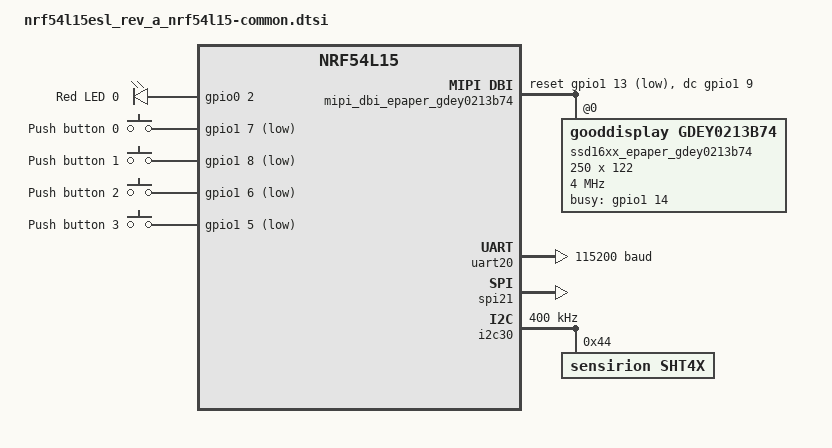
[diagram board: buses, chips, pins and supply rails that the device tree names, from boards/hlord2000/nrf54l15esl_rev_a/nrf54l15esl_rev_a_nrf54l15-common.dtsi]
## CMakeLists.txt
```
# SPDX-License-Identifier: Apache-2.0

cmake_minimum_required(VERSION 3.20.0)

find_package(Zephyr REQUIRED HINTS $ENV{ZEPHYR_BASE})
project(esl_peripheral_sync)

target_sources(app PRIVATE 
	src/peripheral_sync.c
)

target_sources_ifdef(CONFIG_PAWR_EPD app PRIVATE src/display.c)
target_sources_ifdef(CONFIG_SENSOR app PRIVATE src/temp_humidity_sensor.c)
```

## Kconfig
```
menu "PAwR Mosaic Configuration"

config PAWR_EPD
	bool "Enabled EPD for PAwR demo"
	select DISPLAY
	imply LVGL
	imply LV_MEM_CUSTOM
	imply LV_USE_LOG
	imply LV_USE_LABEL
	imply LV_USE_IMG
	imply LV_FONT_MONTSERRAT_14

endmenu

source "Kconfig.zephyr"
```

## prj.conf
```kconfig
CONFIG_LOG=n
CONFIG_CONSOLE=n
CONFIG_SHELL=n
CONFIG_SERIAL=n

CONFIG_PM_DEVICE=y
CONFIG_PM_DEVICE_RUNTIME=y

CONFIG_MAIN_STACK_SIZE=4096

CONFIG_INPUT=y
CONFIG_INPUT_SHELL=y
CONFIG_INPUT_LOG_LEVEL_DBG=y

CONFIG_BT=y
CONFIG_BT_OBSERVER=y
CONFIG_BT_BROADCASTER=y
CONFIG_BT_EXT_ADV=y
CONFIG_BT_PER_ADV_SYNC=y
CONFIG_BT_DEVICE_NAME="PAwR sync sample"

CONFIG_BT_MAX_CONN=2
CONFIG_BT_PERIPHERAL=y

CONFIG_BT_PER_ADV_SYNC_TRANSFER_SENDER=y
CONFIG_BT_PER_ADV_SYNC_TRANSFER_RECEIVER=y

CONFIG_BT_PER_ADV_SYNC_RSP=y
CONFIG_BT_PER_ADV_SYNC_BUF_SIZE=247
```

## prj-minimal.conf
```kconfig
CONFIG_LOG=n
CONFIG_CONSOLE=n
CONFIG_SHELL=n
CONFIG_SERIAL=n
CONFIG_INPUT=n
CONFIG_BT=n
```

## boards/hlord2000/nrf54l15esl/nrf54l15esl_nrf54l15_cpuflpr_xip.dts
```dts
/*
 * Copyright (c) 2024 Nordic Semiconductor ASA
 *
 * SPDX-License-Identifier: Apache-2.0
 */

#include "nrf54l15esl_nrf54l15_cpuflpr.dts"

&cpuflpr_sram {
	reg = <0x2002f000 DT_SIZE_K(68)>;
	ranges = <0x0 0x2002f000 0x11000>;
};
```

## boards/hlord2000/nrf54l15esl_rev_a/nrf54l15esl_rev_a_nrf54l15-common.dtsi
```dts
/*
 * Copyright (c) 2024 Nordic Semiconductor ASA
 *
 * SPDX-License-Identifier: Apache-2.0
 */

#include "nrf54l15esl_rev_a_nrf54l15-pinctrl.dtsi"

/ {
	chosen {
		zephyr,display = &ssd16xx_epaper_gdey0213b74;
	};

	leds {
		compatible = "gpio-leds";
		led0: led_0 {
			gpios = <&gpio0 2 GPIO_ACTIVE_HIGH>;
			label = "Red LED 0";
		};
	};

	buttons {
		compatible = "gpio-keys";
		button0: button_0 {
			gpios = <&gpio1 7 (GPIO_PULL_UP | GPIO_ACTIVE_LOW)>;
			label = "Push button 0";
			zephyr,code = <INPUT_KEY_0>;
		};
		button1: button_1 {
			gpios = <&gpio1 8 (GPIO_PULL_UP | GPIO_ACTIVE_LOW)>;
			label = "Push button 1";
			zephyr,code = <INPUT_KEY_1>;
		};
		button2: button_2 {
			gpios = <&gpio1 6 (GPIO_PULL_UP | GPIO_ACTIVE_LOW)>;
			label = "Push button 2";
			zephyr,code = <INPUT_KEY_2>;
		};
		button3: button_3 {
			gpios = <&gpio1 5 (GPIO_PULL_UP | GPIO_ACTIVE_LOW)>;
			label = "Push button 3";
			zephyr,code = <INPUT_KEY_3>;
		};
	};

	aliases {
		led0 = &led0;
		sw0 = &button0;
		sw1 = &button1;
		sw2 = &button2;
		sw3 = &button3;
		watchdog0 = &wdt31;
	};

	mipi_dbi_epaper_gdey0213b74 {
		compatible = "zephyr,mipi-dbi-spi";
		spi-dev = <&spi21>;
		dc-gpios = <&gpio1 9 GPIO_ACTIVE_HIGH>;
		reset-gpios = <&gpio1 13 GPIO_ACTIVE_LOW>;
		#address-cells = <1>;
		#size-cells = <0>;

		ssd16xx_epaper_gdey0213b74: ssd16xxfb@0 {
			compatible = "gooddisplay,gdey0213b74", "solomon,ssd1680";
			mipi-max-frequency = <4000000>;
			reg = <0>;
			width = <250>;
			height = <122>;
			busy-gpios = <&gpio1 14 GPIO_ACTIVE_HIGH>;

			//tssv = <0x80>;

			full {
				border-waveform = <0x05>;
			};

			partial {
				border-waveform = <0x3c>;
			};
		};
	};
};

&uart20 {
	status = "okay";
	current-speed = <115200>;
	pinctrl-0 = <&uart20_default>;
	pinctrl-1 = <&uart20_sleep>;
	pinctrl-names = "default", "sleep";
};

&spi21 {
	compatible = "nordic,nrf-spim";
	status = "okay";
	pinctrl-0 = <&spi21_default>;
	pinctrl-1 = <&spi21_sleep>;
	pinctrl-names = "default", "sleep";
	cs-gpios = <&gpio1 12 GPIO_ACTIVE_LOW>;
};

&i2c30 {
	compatible = "nordic,nrf-twim";
	status = "okay";
	pinctrl-0 = <&i2c30_default>;
	pinctrl-1 = <&i2c30_sleep>;
	pinctrl-names = "default", "sleep";
	clock-frequency = <I2C_BITRATE_FAST>;
	sht4x@44 {
		status = "okay";
		compatible = "sensirion,sht4x";
		reg = <0x44>;
		repeatability = <2>;
	};
};
```

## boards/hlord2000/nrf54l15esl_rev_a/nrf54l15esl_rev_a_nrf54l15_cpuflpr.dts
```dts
/*
 * Copyright (c) 2024 Nordic Semiconductor ASA
 *
 * SPDX-License-Identifier: Apache-2.0
 */

/dts-v1/;
#include <nordic/nrf54l15_cpuflpr.dtsi>
#include "nrf54l15esl_rev_a_nrf54l15-common.dtsi"

/ {
	model = "Nordic nRF54L15 PDK nRF54L15 FLPR MCU";
	compatible = "nordic,nrf54l15esl_rev_a_nrf54l15-cpuflpr";

	chosen {
		zephyr,console = &uart30;
		zephyr,shell-uart = &uart30;
		zephyr,code-partition = &cpuflpr_code_partition;
		zephyr,flash = &cpuflpr_rram;
		zephyr,sram = &cpuflpr_sram;
	};
};

&cpuflpr_sram {
	status = "okay";
	/* size must be increased due to booting from SRAM */
	reg = <0x20028000 DT_SIZE_K(96)>;
	ranges = <0x0 0x20028000 0x18000>;
};

&cpuflpr_rram {
	partitions {
		compatible = "fixed-partitions";
		#address-cells = <1>;
		#size-cells = <1>;

		cpuflpr_code_partition: partition@0 {
			label = "image-0";
			reg = <0x0 DT_SIZE_K(96)>;
		};
	};
};

&grtc {
	owned-channels = <3 4>;
	status = "okay";
};

&uart30 {
	status = "okay";
};

&gpio0 {
	status = "okay";
};

&gpio1 {
	status = "okay";
};

&gpio2 {
	status = "okay";
};

&gpiote20 {
	status = "okay";
};

&gpiote30 {
	status = "okay";
};
```

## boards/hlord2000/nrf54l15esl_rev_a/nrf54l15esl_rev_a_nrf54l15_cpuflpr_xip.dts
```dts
/*
 * Copyright (c) 2024 Nordic Semiconductor ASA
 *
 * SPDX-License-Identifier: Apache-2.0
 */

#include "nrf54l15esl_rev_a_nrf54l15_cpuflpr.dts"

&cpuflpr_sram {
	reg = <0x2002f000 DT_SIZE_K(68)>;
	ranges = <0x0 0x2002f000 0x11000>;
};
```

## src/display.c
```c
#include <zephyr/device.h>
#include <zephyr/devicetree.h>
#include <zephyr/drivers/display.h>
#include <zephyr/pm/device.h>
#include <lvgl.h>
#include <stdio.h>
#include <zephyr/kernel.h>

#define LOG_LEVEL CONFIG_LOG_DEFAULT_LEVEL
#include <zephyr/logging/log.h>
LOG_MODULE_REGISTER(app);

const struct device *display_dev = DEVICE_DT_GET(DT_CHOSEN(zephyr_display));
static uint32_t count = 0;
static bool display_active = true;

// Function to suspend display
static int suspend_display(const struct device *dev) {
    int err = pm_device_action_run(dev, PM_DEVICE_ACTION_SUSPEND);
    if (err) {
        LOG_ERR("Failed to suspend display: %d", err);
        return err;
    }
    display_active = false;
    LOG_INF("Display suspended");
    return 0;
}

// Function to resume display
static int resume_display(const struct device *dev) {
    int err = pm_device_action_run(dev, PM_DEVICE_ACTION_RESUME);
    if (err) {
        LOG_ERR("Failed to resume display: %d", err);
        return err;
    }
    display_active = true;
    LOG_INF("Display resumed");
    return 0;
}

static void epd_partial_update(void) {
	lv_task_handler();
}

static void epd_full_update(void) {
	display_blanking_on(display_dev);
	lv_task_handler();
	display_blanking_off(display_dev);
}

int main(void) {
    char count_str[24] = {0};
    lv_obj_t *count_label;

    if (!device_is_ready(display_dev)) {
        LOG_ERR("Display device not ready");
        return 0;
    }

	#if 1
    // Create a simple LVGL label
    count_label = lv_label_create(lv_scr_act());
    lv_obj_align(count_label, LV_ALIGN_CENTER, 0, 0);
    lv_label_set_text(count_label, "Starting...");

	display_blanking_off(display_dev);
	epd_full_update();

    while (1) {
        // Toggle display state every 5 seconds
        if ((count % 50) == 0) {
            if (display_active) {
				epd_full_update();
                suspend_display(display_dev);
            } else {
                resume_display(display_dev);
            }
        }

        // Update counter display when active
        if (display_active && (count % 10) == 0) {
            sprintf(count_str, "Count: %d", count/10);
			LOG_INF("Updating to: %s", count_str);
            lv_label_set_text(count_label, count_str);
			// Full update every 10 iters
			if ((count % 100) == 0) {
				epd_full_update();
			} else {
				epd_partial_update();
			}
        }

        count++;
        k_sleep(K_MSEC(100));
    }
#endif
	suspend_display(display_dev);
    return 0;
}
```

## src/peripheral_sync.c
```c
/*
 * Copyright (c) 2023 Nordic Semiconductor ASA
 *
 * SPDX-License-Identifier: Apache-2.0
 */

#include <zephyr/bluetooth/bluetooth.h>
#include <zephyr/bluetooth/conn.h>
#include <zephyr/bluetooth/gatt.h>
#include <zephyr/bluetooth/uuid.h>
#include <zephyr/bluetooth/hci.h>
#include <zephyr/sys/util.h>

#define NAME_LEN 30

static K_SEM_DEFINE(sem_per_adv, 0, 1);
static K_SEM_DEFINE(sem_per_sync, 0, 1);
static K_SEM_DEFINE(sem_per_sync_lost, 0, 1);

static struct bt_conn *default_conn;
static struct bt_le_per_adv_sync *default_sync;
static struct __packed {
	uint8_t subevent;
	uint8_t response_slot;

} pawr_timing;

static void sync_cb(struct bt_le_per_adv_sync *sync, struct bt_le_per_adv_sync_synced_info *info)
{
	struct bt_le_per_adv_sync_subevent_params params;
	uint8_t subevents[1];
	char le_addr[BT_ADDR_LE_STR_LEN];
	int err;

	bt_addr_le_to_str(info->addr, le_addr, sizeof(le_addr));
	printk("Synced to %s with %d subevents\n", le_addr, info->num_subevents);

	default_sync = sync;

	params.properties = 0;
	params.num_subevents = 1;
	params.subevents = subevents;
	subevents[0] = pawr_timing.subevent;

	err = bt_le_per_adv_sync_subevent(sync, &params);
	if (err) {
		printk("Failed to set subevents to sync to (err %d)\n", err);
	} else {
		printk("Changed sync to subevent %d\n", subevents[0]);
	}

	k_sem_give(&sem_per_sync);
}

static void term_cb(struct bt_le_per_adv_sync *sync,
		    const struct bt_le_per_adv_sync_term_info *info)
{
	char le_addr[BT_ADDR_LE_STR_LEN];

	bt_addr_le_to_str(info->addr, le_addr, sizeof(le_addr));

	printk("Sync terminated (reason %d)\n", info->reason);

	default_sync = NULL;

	k_sem_give(&sem_per_sync_lost);
}

static bool print_ad_field(struct bt_data *data, void *user_data)
{
	ARG_UNUSED(user_data);

	printk("    0x%02X: ", data->type);
	for (size_t i = 0; i < data->data_len; i++) {
		printk("%02X", data->data[i]);
	}

	printk("\n");

	return true;
}

int bt_le_per_adv_set_response_data(struct bt_le_per_adv_sync *per_adv_sync,
				    const struct bt_le_per_adv_response_params *params,
				    const struct net_buf_simple *data);

static struct bt_le_per_adv_response_params rsp_params;

NET_BUF_SIMPLE_DEFINE_STATIC(rsp_buf, 247);

static void recv_cb(struct bt_le_per_adv_sync *sync,
		    const struct bt_le_per_adv_sync_recv_info *info, struct net_buf_simple *buf)
{
	int err;

	if (buf && buf->len) {
		/* Echo the data back to the advertiser */
		net_buf_simple_reset(&rsp_buf);
		net_buf_simple_add_mem(&rsp_buf, buf->data, buf->len);

		rsp_params.request_event = info->periodic_event_counter;
		rsp_params.request_subevent = info->subevent;
		/* Respond in current subevent and assigned response slot */
		rsp_params.response_subevent = info->subevent;
		rsp_params.response_slot = pawr_timing.response_slot;

		printk("Indication: subevent %d, responding in slot %d\n", info->subevent,
		       pawr_timing.response_slot);
		bt_data_parse(buf, print_ad_field, NULL);

		err = bt_le_per_adv_set_response_data(sync, &rsp_params, &rsp_buf);
		if (err) {
			printk("Failed to send response (err %d)\n", err);
		}
	} else if (buf) {
		printk("Received empty indication: subevent %d\n", info->subevent);
	} else {
		printk("Failed to receive indication: subevent %d\n", info->subevent);
	}
}

static struct bt_le_per_adv_sync_cb sync_callbacks = {
	.synced = sync_cb,
	.term = term_cb,
	.recv = recv_cb,
};

static const struct bt_uuid_128 pawr_svc_uuid =
	BT_UUID_INIT_128(BT_UUID_128_ENCODE(0x12345678, 0x1234, 0x5678, 0x1234, 0x56789abcdef0));
static const struct bt_uuid_128 pawr_char_uuid =
	BT_UUID_INIT_128(BT_UUID_128_ENCODE(0x12345678, 0x1234, 0x5678, 0x1234, 0x56789abcdef1));

static ssize_t write_timing(struct bt_conn *conn, const struct bt_gatt_attr *attr, const void *buf,
			    uint16_t len, uint16_t offset, uint8_t flags)
{
	if (offset) {
		return BT_GATT_ERR(BT_ATT_ERR_INVALID_OFFSET);
	}

	if (len != sizeof(pawr_timing)) {
		return BT_GATT_ERR(BT_ATT_ERR_INVALID_ATTRIBUTE_LEN);
	}

	memcpy(&pawr_timing, buf, len);

	printk("New timing: subevent %d, response slot %d\n", pawr_timing.subevent,
	       pawr_timing.response_slot);

	struct bt_le_per_adv_sync_subevent_params params;
	uint8_t subevents[1];
	int err;

	params.properties = 0;
	params.num_subevents = 1;
	params.subevents = subevents;
	subevents[0] = pawr_timing.subevent;

	if (default_sync) {
		err = bt_le_per_adv_sync_subevent(default_sync, &params);
		if (err) {
			printk("Failed to set subevents to sync to (err %d)\n", err);
		} else {
			printk("Changed sync to subevent %d\n", subevents[0]);
		}
	} else {
		printk("Not synced yet\n");
	}

	return len;
}

BT_GATT_SERVICE_DEFINE(pawr_svc, BT_GATT_PRIMARY_SERVICE(&pawr_svc_uuid.uuid),
		       BT_GATT_CHARACTERISTIC(&pawr_char_uuid.uuid, BT_GATT_CHRC_WRITE,
					      BT_GATT_PERM_WRITE, NULL, write_timing,
					      &pawr_timing));

void connected(struct bt_conn *conn, uint8_t err)
{
	printk("Connected, err 0x%02X %s\n", err, bt_hci_err_to_str(err));

	if (err) {
		default_conn = NULL;

		return;
	}

	default_conn = bt_conn_ref(conn);
}

void disconnected(struct bt_conn *conn, uint8_t reason)
{
	bt_conn_unref(default_conn);
	default_conn = NULL;

	printk("Disconnected, reason 0x%02X %s\n", reason, bt_hci_err_to_str(reason));
}

BT_CONN_CB_DEFINE(conn_cb) = {
	.connected = connected,
	.disconnected = disconnected,
};

static const struct bt_data ad[] = {
	BT_DATA(BT_DATA_NAME_COMPLETE, CONFIG_BT_DEVICE_NAME, sizeof(CONFIG_BT_DEVICE_NAME) - 1),
};

int main(void)
{
	struct bt_le_per_adv_sync_transfer_param past_param;
	int err;

	printk("Starting Periodic Advertising with Responses Synchronization Demo\n");

	err = bt_enable(NULL);
	if (err) {
		printk("Bluetooth init failed (err %d)\n", err);

		return 0;
	}

	bt_le_per_adv_sync_cb_register(&sync_callbacks);

	past_param.skip = 1;
	past_param.timeout = 1000; /* 10 seconds */
	past_param.options = BT_LE_PER_ADV_SYNC_TRANSFER_OPT_NONE;
	err = bt_le_per_adv_sync_transfer_subscribe(NULL, &past_param);
	if (err) {
		printk("PAST subscribe failed (err %d)\n", err);

		return 0;
	}

	do {
		err = bt_le_adv_start(
			BT_LE_ADV_PARAM(BT_LE_ADV_OPT_ONE_TIME | BT_LE_ADV_OPT_CONNECTABLE,
					BT_GAP_ADV_FAST_INT_MIN_2, BT_GAP_ADV_FAST_INT_MAX_2, NULL),
			ad, ARRAY_SIZE(ad), NULL, 0);
		if (err && err != -EALREADY) {
			printk("Advertising failed to start (err %d)\n", err);
			bt_le_adv_stop();
			k_msleep(1000);
		}

		printk("Waiting for periodic sync...\n");
		err = k_sem_take(&sem_per_sync, K_SECONDS(10));
		if (err) {
			printk("Timed out while synchronizing\n");

			continue;
		}

		printk("Periodic sync established.\n");

		err = k_sem_take(&sem_per_sync_lost, K_FOREVER);
		if (err) {
			printk("failed (err %d)\n", err);

			return 0;
		}

		printk("Periodic sync lost.\n");
	} while (true);

	return 0;
}
```
